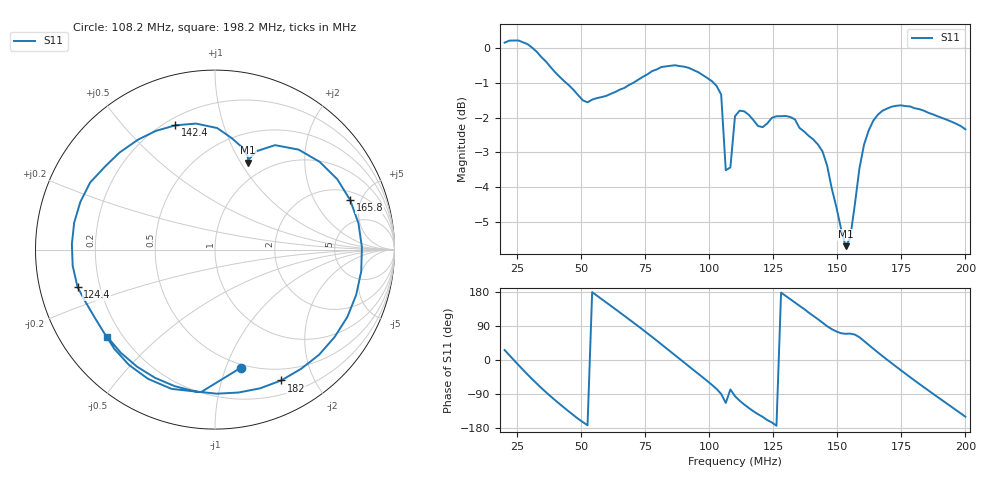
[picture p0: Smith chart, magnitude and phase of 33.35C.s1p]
# HZ S RI R 50
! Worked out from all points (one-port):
!   101 points, 20 MHz to 200 MHz, reference 50 ohm
!   lowest |S11| = -5.7 dB at 153.2 MHz (marker M1), VSWR 3.16, Z = 40.6 + j53.9 ohm
!   |S11| at or under -10 dB: nowhere
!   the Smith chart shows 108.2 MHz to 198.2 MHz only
!   S11 on the Smith chart (normalised r, x): 108.2 MHz: 0.47, -1.13; 124.4 MHz: 0.12, -0.13; 142.4 MHz: 0.24, +0.70; 165.8 MHz: 2.60, +4.03; 182 MHz: 0.36, -1.57; 198.2 MHz: 0.14, -0.35
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2e7  0.9127 0.4515
2.54e7  0.9988 -0.2331
3.26e7  0.4559 -0.8761
3.8e7  -0.098 -0.9335
4.34e7  -0.5335 -0.7192
5.42e7  -0.843 0.0139
6.5e7  -0.5063 0.7094
7.58e7  0.308 0.8635
8.84e7  0.941 0.0448
9.38e7  0.8323 -0.4147
1.01e8  0.3691 -0.8166
1.046e8  0.0068 -0.8574
1.064e8  -0.2653 -0.6122
1.082e8  0.1442 -0.6581
1.1e8  -0.0784 -0.7943
1.154e8  -0.479 -0.6429
1.244e8  -0.7659 -0.2088
1.334e8  -0.6958 0.3736
1.424e8  -0.2201 0.6925
1.532e8  0.1851 0.4849
1.55e8  0.1854 0.4998
1.604e8  0.4659 0.5571
1.658e8  0.7531 0.2758
1.784e8  0.5799 -0.5858
1.82e8  0.3693 -0.7288
1.892e8  -0.1112 -0.7899
1.982e8  -0.6 -0.4866
2e8  -0.6593 -0.3866
